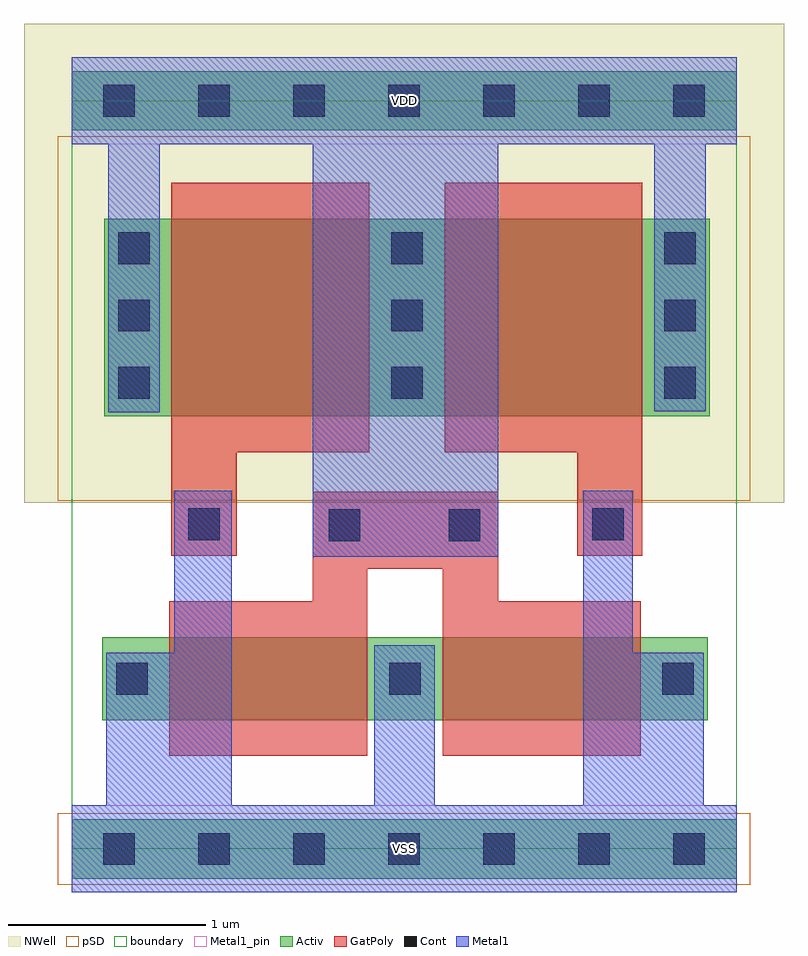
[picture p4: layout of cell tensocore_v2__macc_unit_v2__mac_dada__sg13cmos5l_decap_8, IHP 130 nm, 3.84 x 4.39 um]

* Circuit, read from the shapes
.subckt tensocore_v2__macc_unit_v2__mac_dada__sg13cmos5l_decap_8 VDD VSS
XM1 VSS VDD VSS VSS sg13_lv_nmos w=0.42u l=1u m=2
XM2 VDD VSS VDD VDD sg13_lv_pmos w=1u l=1u m=2
.ends

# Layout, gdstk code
import gdstk
lib = gdstk.Library(unit=1e-6, precision=1e-09)
def R(c, l, rs):  # rectangles x0, y0, x1, y1
    for r in rs: c.add(gdstk.rectangle(r[:2], r[2:], *l))
def A(c, l, x, y, w, h, nx, ny, dx, dy):  # array of equal rectangles
    R(c, l, [(x+i*dx, y+j*dy, x+i*dx+w, y+j*dy+h) for i in range(nx) for j in range(ny)])
def P(c, l, *ps):  # polygons
    for p in ps: c.add(gdstk.Polygon(p, *l))
Activ = (1, 0)
GatPoly = (5, 0)
Cont = (6, 0)
Metal1 = (8, 0)
Metal1_pin = (8, 2)
pSD = (14, 0)
NWell = (31, 0)
boundary = (189, 4)

tensocore_v2__macc_unit_ = lib.new_cell('tensocore_v2__macc_unit_v2__mac_dada__sg13cmos5l_decap_8')
R(tensocore_v2__macc_unit_, Activ, [(0,-0.15,3.36,0.15), (0.155,0.65,3.215,1.07), (0.165,2.185,3.225,3.185), (0,3.63,3.36,3.93)])
P(tensocore_v2__macc_unit_, GatPoly, [(0.505,1.48),(0.505,3.365),(1.505,3.365),(1.505,2.005),(0.835,2.005),(0.835,1.48)],
  [(2.555,1.48),(2.555,2.005),(1.885,2.005),(1.885,3.365),(2.885,3.365),(2.885,1.48)],
  [(0.495,0.47),(0.495,1.25),(1.22,1.25),(1.22,1.805),(2.155,1.805),(2.155,1.25),(2.875,1.25),(2.875,0.47),(1.875,0.47),(1.875,1.415),(1.495,1.415),(1.495,0.47)])
A(tensocore_v2__macc_unit_, Cont, 0.16, -0.08, 0.16, 0.16, 7, 2, 0.48, 3.78)
A(tensocore_v2__macc_unit_, Cont, 0.225, 0.78, 0.16, 0.16, 3, 1, 1.38, 0)
A(tensocore_v2__macc_unit_, Cont, 0.235, 2.275, 0.16, 0.16, 3, 3, 1.38, 0.34)
R(tensocore_v2__macc_unit_, Cont, [(1.3,1.555,1.46,1.715), (1.905,1.555,2.065,1.715), (0.59,1.56,0.75,1.72), (2.63,1.56,2.79,1.72)])
P(tensocore_v2__macc_unit_, Metal1, [(1.22,1.475),(1.22,3.56),(0.445,3.56),(0.445,2.205),(0.185,2.205),(0.185,3.56),(0,3.56),(0,4),(3.36,4),(3.36,3.56),(3.205,3.56),(3.205,2.21),(2.945,2.21),(2.945,3.56),(2.155,3.56),(2.155,1.475)],
  [(0,-0.22),(0,0.22),(0.175,0.22),(0.175,0.99),(0.52,0.99),(0.52,1.81),(0.81,1.81),(0.81,0.22),(1.53,0.22),(1.53,1.03),(1.835,1.03),(1.835,0.22),(2.585,0.22),(2.585,1.81),(2.835,1.81),(2.835,0.99),(3.195,0.99),(3.195,0.22),(3.36,0.22),(3.36,-0.22)])
R(tensocore_v2__macc_unit_, Metal1_pin, [(0,-0.22,3.36,0.22), (0,3.56,3.36,4)])
R(tensocore_v2__macc_unit_, pSD, [(-0.07,-0.18,3.43,0.18), (-0.07,1.76,3.43,3.6)])
R(tensocore_v2__macc_unit_, NWell, [(-0.24,1.75,3.6,4.17)])
R(tensocore_v2__macc_unit_, boundary, [(0,0,3.36,3.78)])
tensocore_v2__macc_unit_.add(gdstk.Label('VSS', (1.68,0), layer=8, texttype=25))
tensocore_v2__macc_unit_.add(gdstk.Label('VDD', (1.68,3.78), layer=8, texttype=25))

lib.write_gds('tensocore_v2__macc_unit_v2__mac_dada__sg13cmos5l_decap_8.gds')
